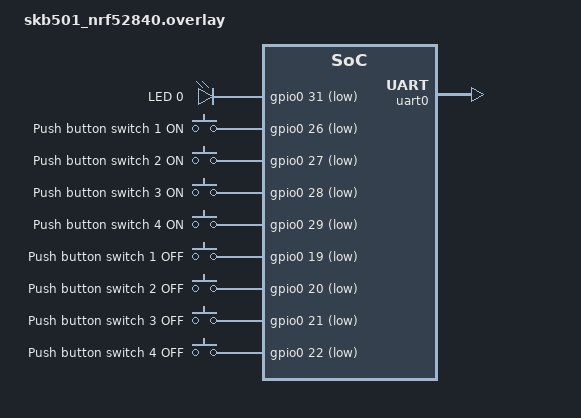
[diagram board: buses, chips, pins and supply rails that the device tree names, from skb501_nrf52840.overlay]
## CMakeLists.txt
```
# SPDX-License-Identifier: Apache-2.0

cmake_minimum_required(VERSION 3.20.0)

#Board selection inside zephyr
#set (BOARD adafruit_feather_m0_basic_proto)
#set(BOARD nrf52840dk_nrf52840)
#set(BOARD nrf5340pdk_nrf5340_cpunet)
#set(BOARD nrf5340pdk_nrf5340_cpuapp)
set(BOARD skb501_nrf52840)
#set(BOARD nrf52840dk_nrf52811)

#Board selection outside zephyr
set(BOARD_ROOT ${CMAKE_CURRENT_SOURCE_DIR})

#Toolchain selection
#set(TOOLCHAIN C:/gnuarmemb)

#Zephyr selection
#set(ZEPHYR_BASE C:/Users/raffa/Github/zephyrproject/zephyr)



find_package(Zephyr REQUIRED HINTS $ENV{ZEPHYR_BASE})

project(NONE)

target_sources(app PRIVATE src/main.c)
```

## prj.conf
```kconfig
#Memory
CONFIG_MAIN_STACK_SIZE=4096

# General configuration
CONFIG_MAIN_STACK_SIZE=4096
CONFIG_SYSTEM_WORKQUEUE_STACK_SIZE=4096
CONFIG_FLASH=y
CONFIG_FLASH_MAP=y
CONFIG_NVS=y
CONFIG_SETTINGS=y
CONFIG_HWINFO=y

# Bluetooth configuration
CONFIG_BT=y
CONFIG_BT_COMPANY_ID=0x0059
CONFIG_BT_DEVICE_NAME="Remote Light Control"
CONFIG_BT_L2CAP_TX_BUF_COUNT=32
CONFIG_BT_OBSERVER=y
CONFIG_BT_PERIPHERAL=y
CONFIG_BT_SETTINGS=y

# Disable unused Bluetooth features
CONFIG_BT_CTLR_DUP_FILTER_LEN=0
CONFIG_BT_CTLR_LE_ENC=n
CONFIG_BT_DATA_LEN_UPDATE=n
CONFIG_BT_PHY_UPDATE=n
CONFIG_BT_CTLR_CHAN_SEL_2=n
CONFIG_BT_CTLR_MIN_USED_CHAN=n
CONFIG_BT_CTLR_PRIVACY=n

# Bluetooth mesh configuration
CONFIG_BT_MESH=y
CONFIG_BT_MESH_RELAY=n
CONFIG_BT_MESH_FRIEND=n
CONFIG_BT_MESH_LOW_POWER=y
CONFIG_BT_MESH_BEACON_ENABLED=n
#CONFIG_BT_DEBUG_LOG=y
#CONFIG_BT_MESH_DEBUG=y
#CONFIG_BT_MESH_DEBUG_LOW_POWER=y
#CONFIG_BT_MESH_DEBUG_FRIEND=y
CONFIG_BT_MESH_LPN_AUTO=y
CONFIG_BT_MESH_LPN_AUTO_TIMEOUT=5
#600 = 60s
CONFIG_BT_MESH_LPN_POLL_TIMEOUT=65000
#2 Days
CONFIG_BT_MESH_GATT_PROXY=n
CONFIG_BT_MESH_ADV_BUF_COUNT=64
CONFIG_BT_MESH_TX_SEG_MAX=32
CONFIG_BT_MESH_PB_GATT=y

# Power Managment Device -> Needed for LPN
CONFIG_PM=y
CONFIG_PM_DEVICE=y
CONFIG_LOG=y
CONFIG_LOG_MODE_IMMEDIATE=y
CONFIG_SERIAL=y
#CONFIG_CLOCK_CONTROL_NRF_CALIBRATION_PERIOD=4000
#CONFIG_CLOCK_CONTROL_NRF_CALIBRATION_MAX_SKIP=255
#CONFIG_CLOCK_CONTROL_NRF_K32SRC_RC_CALIBRATION=n
#CONFIG_BT_LL_SW_SPLIT=y
#SKB501 Specific
#CONFIG_PM_DEVICE_RUNTIME=y
#CONFIG_PM_CPU_OPS=y
CONFIG_GPIO=n
CONFIG_NRFX_GPIOTE=y

# Bluetooth mesh models
CONFIG_BT_MESH_ONOFF_CLI=y

#Board
#CONFIG_BOARD_HAS_NRF5_BOOTLOADER=n

#For Reset
#CONFIG_REBOOT=y
```

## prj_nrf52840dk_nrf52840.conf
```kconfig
# General configuration
CONFIG_MAIN_STACK_SIZE=4096
CONFIG_SYSTEM_WORKQUEUE_STACK_SIZE=4096
CONFIG_FLASH=y
CONFIG_FLASH_MAP=y
CONFIG_NVS=y
CONFIG_SETTINGS=y
CONFIG_HWINFO=y

# Bluetooth configuration
CONFIG_BT=y
CONFIG_BT_COMPANY_ID=0x0059
CONFIG_BT_DEVICE_NAME="Remote Light Control"
CONFIG_BT_L2CAP_TX_BUF_COUNT=32
CONFIG_BT_OBSERVER=y
CONFIG_BT_PERIPHERAL=y
CONFIG_BT_SETTINGS=y

# Disable unused Bluetooth features
CONFIG_BT_CTLR_DUP_FILTER_LEN=0
CONFIG_BT_CTLR_LE_ENC=n
CONFIG_BT_DATA_LEN_UPDATE=n
CONFIG_BT_PHY_UPDATE=n
CONFIG_BT_CTLR_CHAN_SEL_2=n
CONFIG_BT_CTLR_MIN_USED_CHAN=n
CONFIG_BT_CTLR_PRIVACY=n

# Bluetooth mesh configuration
CONFIG_BT_MESH=y
CONFIG_BT_MESH_RELAY=n
CONFIG_BT_MESH_FRIEND=n
CONFIG_BT_MESH_BEACON_ENABLED=n
CONFIG_BT_MESH_LOW_POWER=y
#CONFIG_BT_DEBUG_LOG=y
#CONFIG_BT_MESH_DEBUG=y
#CONFIG_BT_MESH_DEBUG_LOW_POWER=y
CONFIG_BT_MESH_LPN_AUTO=y
CONFIG_BT_MESH_LPN_AUTO_TIMEOUT=5
#600 = 60s
CONFIG_BT_MESH_LPN_POLL_TIMEOUT=3600
CONFIG_BT_MESH_GATT_PROXY=n
CONFIG_BT_MESH_ADV_BUF_COUNT=64
CONFIG_BT_MESH_TX_SEG_MAX=32
CONFIG_BT_MESH_PB_GATT=y

# Power Managment Device -> Needed for LPN
CONFIG_PM=y
CONFIG_PM_DEVICE=y
#CONFIG_PM_DEVICE_RUNTIME=y
#CONFIG_PM_CPU_OPS=y
CONFIG_SERIAL=y
CONFIG_CONSOLE=y

# Bluetooth mesh models
CONFIG_BT_MESH_ONOFF_CLI=y

#GPIO
CONFIG_GPIO=y

#Board
#CONFIG_BOARD_HAS_NRF5_BOOTLOADER=n
```

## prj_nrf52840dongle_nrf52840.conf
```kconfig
# General configuration
CONFIG_MAIN_STACK_SIZE=4096
CONFIG_SYSTEM_WORKQUEUE_STACK_SIZE=4096
CONFIG_FLASH=y
CONFIG_FLASH_MAP=y
CONFIG_NVS=y
CONFIG_SETTINGS=y
CONFIG_HWINFO=y

# Bluetooth configuration
CONFIG_BT=y
CONFIG_BT_COMPANY_ID=0x0059
CONFIG_BT_DEVICE_NAME="Remote Light Control"
CONFIG_BT_L2CAP_TX_BUF_COUNT=32
CONFIG_BT_OBSERVER=y
CONFIG_BT_PERIPHERAL=y
CONFIG_BT_SETTINGS=y

# Disable unused Bluetooth features
CONFIG_BT_CTLR_DUP_FILTER_LEN=0
CONFIG_BT_CTLR_LE_ENC=n
CONFIG_BT_DATA_LEN_UPDATE=n
CONFIG_BT_PHY_UPDATE=n
CONFIG_BT_CTLR_CHAN_SEL_2=n
CONFIG_BT_CTLR_MIN_USED_CHAN=n
CONFIG_BT_CTLR_PRIVACY=n

# Bluetooth mesh configuration
CONFIG_BT_MESH=y
CONFIG_BT_MESH_RELAY=n
CONFIG_BT_MESH_FRIEND=n
CONFIG_BT_MESH_BEACON_ENABLED=n
CONFIG_BT_MESH_LOW_POWER=y
#CONFIG_BT_DEBUG_LOG=y
#CONFIG_BT_MESH_DEBUG=y
#CONFIG_BT_MESH_DEBUG_LOW_POWER=y
CONFIG_BT_MESH_LPN_AUTO=y
CONFIG_BT_MESH_LPN_AUTO_TIMEOUT=5
#600 = 60s
CONFIG_BT_MESH_LPN_POLL_TIMEOUT=3600
CONFIG_BT_MESH_GATT_PROXY=n
CONFIG_BT_MESH_ADV_BUF_COUNT=64
CONFIG_BT_MESH_TX_SEG_MAX=32
CONFIG_BT_MESH_PB_GATT=y

# Power Managment Device -> Needed for LPN
CONFIG_PM=y
CONFIG_PM_DEVICE=y
#CONFIG_PM_DEVICE_RUNTIME=y
#CONFIG_PM_CPU_OPS=y
CONFIG_SERIAL=y
CONFIG_CONSOLE=y

# Bluetooth mesh models
CONFIG_BT_MESH_ONOFF_CLI=y

#GPIO
CONFIG_GPIO=y

#Board
CONFIG_BOARD_HAS_NRF5_BOOTLOADER=n
```

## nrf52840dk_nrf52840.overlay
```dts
#include <dt-bindings/gpio/gpio.h>


/ {
   buttons {
      button1on: button_1on {
			gpios = < &gpio1 0 (GPIO_PULL_UP | GPIO_ACTIVE_LOW) >;
			label = "Push button switch 1 ON";
		};
      button2on: button_2on {
			gpios = < &gpio1 3 (GPIO_PULL_UP | GPIO_ACTIVE_LOW) >;
			label = "Push button switch 2 ON";
		};
      button3on: button_3on {
			gpios = < &gpio0 17 (GPIO_PULL_UP | GPIO_ACTIVE_LOW) >;
			label = "Push button switch 3 ON";
		};
      button4on: button_4on {
			gpios = < &gpio0 20 (GPIO_PULL_UP | GPIO_ACTIVE_LOW) >;
			label = "Push button switch 4 ON";
		};
      button1off: button_1off {
			gpios = < &gpio0 22 (GPIO_PULL_UP | GPIO_ACTIVE_LOW) >;
			label = "Push button switch 1 OFF";
		};
      button2off: button_2off {
			gpios = < &gpio1 4 (GPIO_PULL_UP | GPIO_ACTIVE_LOW) >;
			label = "Push button switch 2 OFF";
		};
      button3off: button_3off {
			gpios = < &gpio1 5 (GPIO_PULL_UP | GPIO_ACTIVE_LOW) >;
			label = "Push button switch 3 OFF";
		};
      button4off: button_4off {
			gpios = < &gpio0 9 (GPIO_PULL_UP | GPIO_ACTIVE_LOW) >;
			label = "Push button switch 4 OFF";
		};
   };
   aliases {
		sw1on = &button1on;
      sw2on = &button2on;
      sw3on = &button3on;
      sw4on = &button4on;
      sw1off = &button1off;
      sw2off = &button2off;
      sw3off = &button3off;
      sw4off = &button4off;
	};
};
```

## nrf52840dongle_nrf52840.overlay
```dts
#include <dt-bindings/gpio/gpio.h>

&i2c0 {
	status = "disabled";
};

&i2c1 {
	status = "disabled";
};

&spi0 {
	status = "disabled";
};

&spi1 {
	status = "disabled";
};

/* 
&uart0 {
	status = "disabled";
};

*/

/ {
   buttons {
      button1on: button_1on {
			gpios = < &gpio0 13 (GPIO_PULL_UP | GPIO_ACTIVE_LOW) >;
			label = "Push button switch 1 ON";
		};
      button2on: button_2on {
			gpios = < &gpio0 15 (GPIO_PULL_UP | GPIO_ACTIVE_LOW) >;
			label = "Push button switch 2 ON";
		};
      button3on: button_3on {
			gpios = < &gpio0 17 (GPIO_PULL_UP | GPIO_ACTIVE_LOW) >;
			label = "Push button switch 3 ON";
		};
      button4on: button_4on {
			gpios = < &gpio0 20 (GPIO_PULL_UP | GPIO_ACTIVE_LOW) >;
			label = "Push button switch 4 ON";
		};
      button1off: button_1off {
			gpios = < &gpio0 22 (GPIO_PULL_UP | GPIO_ACTIVE_LOW) >;
			label = "Push button switch 1 OFF";
		};
      button2off: button_2off {
			gpios = < &gpio0 24 (GPIO_PULL_UP | GPIO_ACTIVE_LOW) >;
			label = "Push button switch 2 OFF";
		};
      button3off: button_3off {
			gpios = < &gpio1 0 (GPIO_PULL_UP | GPIO_ACTIVE_LOW) >;
			label = "Push button switch 3 OFF";
		};
      button4off: button_4off {
			gpios = < &gpio0 9 (GPIO_PULL_UP | GPIO_ACTIVE_LOW) >;
			label = "Push button switch 4 OFF";
		};
   };
   aliases {
		sw1on = &button1on;
      sw2on = &button2on;
      sw3on = &button3on;
      sw4on = &button4on;
      sw1off = &button1off;
      sw2off = &button2off;
      sw3off = &button3off;
      sw4off = &button4off;
	};
};
```

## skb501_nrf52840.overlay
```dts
#include <dt-bindings/gpio/gpio.h>

&i2c0 {
	status = "disabled";
};

&i2c1 {
	status = "disabled";
};

&spi0 {
	status = "disabled";
};

&spi1 {
	status = "disabled";
};

&uart0 {
	status = "okay";
};

/ {
	leds {
		compatible = "gpio-leds";
		led0: led_0 {
			gpios = <&gpio0 31 GPIO_ACTIVE_LOW>;
			label = "LED 0";
		};
	};
	buttons {
		compatible = "gpio-keys";
		button1on: button_1on {
			gpios = < &gpio0 26 (GPIO_PULL_UP | GPIO_ACTIVE_LOW) >;
			label = "Push button switch 1 ON";
		};
      button2on: button_2on {
			gpios = < &gpio0 27 (GPIO_PULL_UP | GPIO_ACTIVE_LOW) >;
			label = "Push button switch 2 ON";
		};
      button3on: button_3on {
			gpios = < &gpio0 28 (GPIO_PULL_UP | GPIO_ACTIVE_LOW) >;
			label = "Push button switch 3 ON";
		};
      button4on: button_4on {
			gpios = < &gpio0 29 (GPIO_PULL_UP | GPIO_ACTIVE_LOW) >;
			label = "Push button switch 4 ON";
		};
      button1off: button_1off {
			gpios = < &gpio0 19 (GPIO_PULL_UP | GPIO_ACTIVE_LOW) >;
			label = "Push button switch 1 OFF";
		};
      button2off: button_2off {
			gpios = < &gpio0 20 (GPIO_PULL_UP | GPIO_ACTIVE_LOW) >;
			label = "Push button switch 2 OFF";
		};
      button3off: button_3off {
			gpios = < &gpio0 21 (GPIO_PULL_UP | GPIO_ACTIVE_LOW) >;
			label = "Push button switch 3 OFF";
		};
      button4off: button_4off {
			gpios = < &gpio0 22 (GPIO_PULL_UP | GPIO_ACTIVE_LOW) >;
			label = "Push button switch 4 OFF";
		};
	};
   aliases {
	led0 = &led0;
	sw1on = &button1on;
      sw2on = &button2on;
      sw3on = &button3on;
      sw4on = &button4on;
      sw1off = &button1off;
      sw2off = &button2off;
      sw3off = &button3off;
      sw4off = &button4off;

	};
};
```

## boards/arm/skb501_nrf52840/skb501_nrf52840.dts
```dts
/*
 * Copyright (c) 2017 Linaro Limited
 *
 * SPDX-License-Identifier: Apache-2.0
 */

/dts-v1/;
#include <nordic/nrf52840_qiaa.dtsi>

/ {
	model = "Nordic SKB501 NRF52840";
	compatible = "nordic,skb501-nrf52840";

	chosen {
		zephyr,console = &uart0;
		zephyr,shell-uart = &uart0;
		zephyr,uart-mcumgr = &uart0;
		zephyr,bt-mon-uart = &uart0;
		zephyr,bt-c2h-uart = &uart0;
		zephyr,sram = &sram0;
		zephyr,flash = &flash0;
		zephyr,code-partition = &slot0_partition;
	};	

	/* These aliases are provided for compatibility with samples */
	aliases {
	};
};

&adc {
	status = "okay";
};

&gpiote {
	status = "okay";
};

&gpio0 {
	status = "okay";
};

&gpio1 {
	status = "okay";
};

&uart0 {
	compatible = "nordic,nrf-uarte";
	status = "okay";
	current-speed = <115200>;
	tx-pin = <2>;
	rx-pin = <3>;
	rx-pull-up;
	rts-pin = <6>;
	cts-pin = <7>;
	cts-pull-up;
};

&i2c0 {
	compatible = "nordic,nrf-twi";
	status = "okay";
	sda-pin = <26>;
	scl-pin = <27>;
};

&i2c1 {
	compatible = "nordic,nrf-twi";
	/* Cannot be used together with spi1. */
	/* status = "okay"; */
	sda-pin = <30>;
	scl-pin = <31>;
};

&pwm0 {
	status = "okay";
	ch0-pin = <5>;
	ch0-inverted;
};

&spi0 {
	compatible = "nordic,nrf-spi";
	/* Cannot be used together with i2c0. */
	/* status = "okay"; */
	sck-pin = <27>;
	mosi-pin = <26>;
	miso-pin = <29>;
};


&flash0 {

	partitions {
		compatible = "fixed-partitions";
		#address-cells = <1>;
		#size-cells = <1>;

		boot_partition: partition@0 {
			label = "mcuboot";
			reg = <0x000000000 0x0000C000>;
		};
		slot0_partition: partition@c000 {
			label = "image-0";
			reg = <0x0000C000 0x00067000>;
		};
		slot1_partition: partition@73000 {
			label = "image-1";
			reg = <0x00073000 0x00067000>;
		};
		scratch_partition: partition@da000 {
			label = "image-scratch";
			reg = <0x000da000 0x0001e000>;
		};

		/*
		 * The flash starting at 0x000f8000 and ending at
		 * 0x000fffff is reserved for use by the application.
		 */

		/*
		 * Storage partition will be used by FCB/LittleFS/NVS
		 * if enabled.
		 */
		storage_partition: partition@f8000 {
			label = "storage";
			reg = <0x000f8000 0x00008000>;
		};
	};
};
```

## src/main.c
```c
/*
 * Copyright (c) 2017 Raffael Anklin
 *
 * SPDX-License-Identifier: Apache-2.0
 */

/* ---------- Led ------------------- */
#include <zephyr.h>
#include <hal/nrf_gpio.h>
#include <nrfx_gpiote.h>
#include <hal/nrf_gpiote.h>

//Init Reset Button
static void leds_init()
{
  nrf_gpio_cfg_output(DT_GPIO_PIN(DT_ALIAS(led0), gpios));
  nrf_gpio_pin_set(DT_GPIO_PIN(DT_ALIAS(led0), gpios));
}

/* ---------- Buttons ------------------- */
static struct k_work_delayable buttons_debounce;

static void mesh_model_button_handler();
static void lpn_wakeup();
static void lpn_sleep();

static bool buttons_locked;
static uint32_t pin_latches;

static void buttons_debounce_fn(struct k_work *work)
{
  lpn_wakeup();
  mesh_model_button_handler();
}

static void gpiote_isr(const void *irq_handler)
{
  nrf_gpiote_int_disable(NRF_GPIOTE, GPIOTE_INTENSET_PORT_Msk); 
  nrf_gpiote_event_clear(NRF_GPIOTE, NRF_GPIOTE_EVENT_PORT); 
  nrf_gpio_latches_read_and_clear(0,1,&pin_latches); 
  printk("Button pressed at %" PRIu32 "\n", k_cycle_get_32());
  if (!buttons_locked){
    buttons_locked = true;
    k_work_reschedule(&buttons_debounce, K_MSEC(100)); // Debounce the Button
  }
}

//Init Reset Button
static void buttons_init()
{
  k_work_init_delayable(&buttons_debounce, buttons_debounce_fn);

  /* Configure to generate PORT event (wakeup) on buttons press. */
  nrf_gpio_cfg_sense_input(DT_GPIO_PIN(DT_ALIAS(sw1on), gpios),NRF_GPIO_PIN_PULLUP,NRF_GPIO_PIN_SENSE_LOW);
  nrf_gpio_cfg_sense_input(DT_GPIO_PIN(DT_ALIAS(sw2on), gpios),NRF_GPIO_PIN_PULLUP,NRF_GPIO_PIN_SENSE_LOW);
  nrf_gpio_cfg_sense_input(DT_GPIO_PIN(DT_ALIAS(sw3on), gpios),NRF_GPIO_PIN_PULLUP,NRF_GPIO_PIN_SENSE_LOW);
  nrf_gpio_cfg_sense_input(DT_GPIO_PIN(DT_ALIAS(sw4on), gpios),NRF_GPIO_PIN_PULLUP,NRF_GPIO_PIN_SENSE_LOW);
  nrf_gpio_cfg_sense_input(DT_GPIO_PIN(DT_ALIAS(sw1off), gpios),NRF_GPIO_PIN_PULLUP,NRF_GPIO_PIN_SENSE_LOW);
  nrf_gpio_cfg_sense_input(DT_GPIO_PIN(DT_ALIAS(sw2off), gpios),NRF_GPIO_PIN_PULLUP,NRF_GPIO_PIN_SENSE_LOW);
  nrf_gpio_cfg_sense_input(DT_GPIO_PIN(DT_ALIAS(sw3off), gpios),NRF_GPIO_PIN_PULLUP,NRF_GPIO_PIN_SENSE_LOW);
  nrf_gpio_cfg_sense_input(DT_GPIO_PIN(DT_ALIAS(sw4off), gpios),NRF_GPIO_PIN_PULLUP,NRF_GPIO_PIN_SENSE_LOW);

  /* Connect GPIOTE_0 IRQ to nrfx_gpiote_irq_handler */
	IRQ_CONNECT(DT_IRQN(DT_NODELABEL(gpiote)),
		    DT_IRQ(DT_NODELABEL(gpiote), priority),
		    gpiote_isr, NULL, 0);

    NRFX_IRQ_PRIORITY_SET(nrfx_get_irq_number(NRF_GPIOTE), 0);
    NRFX_IRQ_ENABLE(nrfx_get_irq_number(NRF_GPIOTE));
    nrf_gpiote_event_clear(NRF_GPIOTE, NRF_GPIOTE_EVENT_PORT);
    nrf_gpiote_int_enable(NRF_GPIOTE, GPIOTE_INTENSET_PORT_Msk);  
}


/* ---------------------------- Bluetooth Mesh ------------------------------- */

#include <drivers/hwinfo.h>

#include <bluetooth/bluetooth.h>
#include <bluetooth/mesh.h>
#include <bluetooth/mesh/models.h>
#include <bluetooth/mesh/model_types.h>


/* Provisioning */
static int output_number(bt_mesh_output_action_t action, uint32_t number)
{
  printk("OOB Number: %u\n", number);
  return 0;
}

static void prov_complete(uint16_t net_idx, uint16_t addr)
{
  printk("Prov complete! Addr: 0x%04x\n", addr);
}

static void prov_reset(void)
{
  printk("Prov reset!\n");
  bt_mesh_prov_enable(BT_MESH_PROV_ADV | BT_MESH_PROV_GATT);
}

static uint8_t dev_uuid[16];

static const struct bt_mesh_prov prov = {
    .uuid = dev_uuid,
    .output_size = 4,
    .output_actions = BT_MESH_DISPLAY_NUMBER,
    .output_number = output_number,
    .complete = prov_complete,
    .reset = prov_reset,
};

/* ON/OFF Client definition */

/** Context for a single light switch. */
struct button {
	/** Current light status of the corresponding server. */
	bool status;
	/** Generic OnOff client instance for this switch. */
	struct bt_mesh_onoff_cli client;
};

static void status_handler(struct bt_mesh_onoff_cli *cli,
			   struct bt_mesh_msg_ctx *ctx,
			   const struct bt_mesh_onoff_status *status);

static struct button buttons[] = {
	{ .client = BT_MESH_ONOFF_CLI_INIT(&status_handler) },
	{ .client = BT_MESH_ONOFF_CLI_INIT(&status_handler) },
	{ .client = BT_MESH_ONOFF_CLI_INIT(&status_handler) },
	{ .client = BT_MESH_ONOFF_CLI_INIT(&status_handler) },
};

static void status_handler(struct bt_mesh_onoff_cli *cli,
			   struct bt_mesh_msg_ctx *ctx,
			   const struct bt_mesh_onoff_status *status)
{
	struct button *button =
		CONTAINER_OF(cli, struct button, client);
	int index = button - &buttons[0];
	button->status = status->present_on_off;
	printk("Button %d: Received response: %s\n", index + 1,
	       status->present_on_off ? "on" : "off");
}

static void mesh_model_button_handler()
{  	
  //Check which Button is pressed
  static int i = -1;
  static int err;
  i = -1;
  
  printk("L: %u\n",pin_latches);

  if (pin_latches & (1 << DT_GPIO_PIN(DT_ALIAS(sw1on), gpios)))
  {
    i = 0;
    buttons[i].status = true;
  } else if (pin_latches & (1 << DT_GPIO_PIN(DT_ALIAS(sw1off), gpios)))
  {
    i = 0;
    buttons[i].status = false;
  } else if (pin_latches & (1 << DT_GPIO_PIN(DT_ALIAS(sw2on), gpios)))
  {
    i = 1;
    buttons[i].status = true;
  } else if (pin_latches & (1 << DT_GPIO_PIN(DT_ALIAS(sw2off), gpios)))
  {
    i = 1;
    buttons[i].status = false;
  } else if (pin_latches & (1 << DT_GPIO_PIN(DT_ALIAS(sw3on), gpios)))
  {
    i = 2;
    buttons[i].status = true;
  } else if (pin_latches & (1 << DT_GPIO_PIN(DT_ALIAS(sw3off), gpios)))
  {
    i = 2;
    buttons[i].status = false;
  } else if (pin_latches & (1 << DT_GPIO_PIN(DT_ALIAS(sw4on), gpios)))
  {
    i = 3;
    buttons[i].status = true;
  } else if (pin_latches & (1 << DT_GPIO_PIN(DT_ALIAS(sw4off), gpios)))
  {
    i = 3;
    buttons[i].status = false;
  } else 
  {
    printk("Error no button pressed\n");
  }
  
  if (bt_mesh_is_provisioned() && (i >= 0)) {    
    struct bt_mesh_onoff_set set = {.on_off = buttons[i].status,};
    err = bt_mesh_onoff_cli_set_unack(&buttons[i].client,NULL, &set);
    if (err) {
        printk("OnOff %d set failed: %d\n", i + 1, err);
    }
    err = bt_mesh_lpn_poll();
    if (err != 0){
      printk("Poll Error %d\n",err);
    }
  }
  lpn_sleep();  
}

/* Health Server definition */
static void attention_on(struct bt_mesh_model *model)
{
  printk("attention_on!\n");
}
static void attention_off(struct bt_mesh_model *model)
{
  printk("attention_off!\n");
}
static const struct bt_mesh_health_srv_cb health_srv_cb = {
    .attn_on = attention_on,
    .attn_off = attention_off,
};
static struct bt_mesh_health_srv health_srv = {
    .cb = &health_srv_cb,
};
BT_MESH_HEALTH_PUB_DEFINE(health_pub, 0);

/* Define all Elements */
static struct bt_mesh_elem elements[] = {
    BT_MESH_ELEM(1, BT_MESH_MODEL_LIST(BT_MESH_MODEL_CFG_SRV, BT_MESH_MODEL_HEALTH_SRV(&health_srv, &health_pub), BT_MESH_MODEL_ONOFF_CLI(&buttons[0].client)),BT_MESH_MODEL_NONE),
    BT_MESH_ELEM(2, BT_MESH_MODEL_LIST(BT_MESH_MODEL_ONOFF_CLI(&buttons[1].client)),BT_MESH_MODEL_NONE),
    BT_MESH_ELEM(3, BT_MESH_MODEL_LIST(BT_MESH_MODEL_ONOFF_CLI(&buttons[2].client)),BT_MESH_MODEL_NONE),
    BT_MESH_ELEM(4, BT_MESH_MODEL_LIST(BT_MESH_MODEL_ONOFF_CLI(&buttons[3].client)),BT_MESH_MODEL_NONE),
};

/* Create Composition */
static const struct bt_mesh_comp comp = {
    .cid = CONFIG_BT_COMPANY_ID,
    .elem = elements,
    .elem_count = ARRAY_SIZE(elements),
};

/* Bluetooth */
static void bt_ready(int err)
{
  if (err)
  {
    printk("Bluetooth init failed (err %d)\n", err);
    return;
  }

  printk("Bluetooth initialized\n");

  err = bt_mesh_init(&prov, &comp);
  if (err)
  {
    printk("Initializing mesh failed (err %d)\n", err);
    return;
  }

  if (IS_ENABLED(CONFIG_SETTINGS))
  {
    settings_load();
  }

  //Check Reboot Condition
  
  if ((nrf_gpio_pin_read(DT_GPIO_PIN(DT_ALIAS(sw1on), gpios)) == false) ){
    printk("Reset Mesh!\n");
		bt_mesh_reset();
  }


  /* This will be a no-op if settings_load() loaded provisioning info */
  bt_mesh_prov_enable(BT_MESH_PROV_ADV | BT_MESH_PROV_GATT);

  /* Check for Friendship */

  printk("Mesh initialized\n");
}

//Init Bluetooth Mesh
static void bluetooth_mesh_init()
{
  static int err;
  if (IS_ENABLED(CONFIG_HWINFO)) {
		err = hwinfo_get_device_id(dev_uuid, sizeof(dev_uuid));
	}
	if (err < 0) {
		dev_uuid[0] = 0xdd;
		dev_uuid[1] = 0xdd;
	}
  //Init Bluetooth
	bt_enable(bt_ready);
}

/* Manual Low Power Node Override */
#include <stdio.h>
#include <zephyr.h>
#include <device.h>
#include <init.h>
#include <pm/pm.h>
#include <bluetooth/mesh/main.h>

#define CONSOLE_LABEL DT_LABEL(DT_CHOSEN(zephyr_console))
#define CLOCK_LABEL DT_LABEL(DT_NODELABEL(clock))

const struct device *cons;
//const struct device *clk;

static void lpn_app_init(){
  //cons = device_get_binding(CONSOLE_LABEL);
}

static void lpn_wakeup(){
  cons = device_get_binding(CONSOLE_LABEL);
  if (cons == NULL)
  {
    printk("No UART Device found\n");
  } else {
    pm_device_state_set(cons, PM_DEVICE_STATE_ACTIVE);  
  }
  printk("Exit System OFF\n");
  nrf_gpio_pin_set(DT_GPIO_PIN(DT_ALIAS(led0), gpios)); 
}

static void lpn_sleep(){
    printk("Enter System OFF\n");
    nrf_gpio_pin_clear(DT_GPIO_PIN(DT_ALIAS(led0), gpios)); 
    //Reenable Interrupt
    buttons_locked = false;
    nrf_gpiote_event_clear(NRF_GPIOTE, NRF_GPIOTE_EVENT_PORT);
    nrf_gpio_latches_read_and_clear(0,1,&pin_latches); 
    nrf_gpiote_int_enable(NRF_GPIOTE, GPIOTE_INTENSET_PORT_Msk); 
    cons = device_get_binding(CONSOLE_LABEL);
    if (cons == NULL)
    {
      printk("No UART Device found\n");
    } else {
      pm_device_state_set(cons, PM_DEVICE_STATE_SUSPENDED);  
    }   
    //pm_power_state_force((struct pm_state_info){PM_STATE_SOFT_OFF, 0, 0});
}

static void lpn_app_established(uint16_t net_idx, uint16_t friend_addr,
					uint8_t queue_size, uint8_t recv_win)
{
  printk("LPN Established\n");
  lpn_sleep();
}

static void lpn_app_polled(uint16_t net_idx, uint16_t friend_addr, bool retry)
{
  printk("LPN Polled\n");
  lpn_sleep();
}

BT_MESH_LPN_CB_DEFINE(lpn_cb_app) = {
	.established = lpn_app_established,
	.polled = lpn_app_polled,
};






/* ------------------- Main App ---------------------------- */

void main(void)
{
  printk("Init Application\n");
  leds_init();
  buttons_init();
  lpn_app_init();
  bluetooth_mesh_init();
  printk("Starting Application\n");
}
```

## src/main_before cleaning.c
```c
/*
 * Copyright (c) 2017 Raffael Anklin
 *
 * SPDX-License-Identifier: Apache-2.0
 */

/* ---------- Led ------------------- */
#include <zephyr.h>
//#include <drivers/gpio.h>
#include <hal/nrf_gpio.h>
#include <nrfx_gpiote.h>
#include <hal/nrf_gpiote.h>

//static struct gpio_dt_spec led = GPIO_DT_SPEC_GET_OR(DT_ALIAS(led0), gpios,{0});

//Init Reset Button
static void leds_init()
{
  //gpio_pin_configure_dt(&led, GPIO_OUTPUT_INACTIVE);
}

/* ---------- Buttons ------------------- 
static const struct gpio_dt_spec button_1_on = GPIO_DT_SPEC_GET_OR(DT_ALIAS(sw1on), gpios, {0});
static const struct gpio_dt_spec button_2_on = GPIO_DT_SPEC_GET_OR(DT_ALIAS(sw2on), gpios, {0});
static const struct gpio_dt_spec button_3_on = GPIO_DT_SPEC_GET(DT_ALIAS(sw3on), gpios);
static const struct gpio_dt_spec button_4_on = GPIO_DT_SPEC_GET_OR(DT_ALIAS(sw4on), gpios, {0});
static const struct gpio_dt_spec button_1_off = GPIO_DT_SPEC_GET_OR(DT_ALIAS(sw1off), gpios, {0});
static const struct gpio_dt_spec button_2_off = GPIO_DT_SPEC_GET_OR(DT_ALIAS(sw2off), gpios, {0});
static const struct gpio_dt_spec button_3_off = GPIO_DT_SPEC_GET_OR(DT_ALIAS(sw3off), gpios, {0});
static const struct gpio_dt_spec button_4_off = GPIO_DT_SPEC_GET_OR(DT_ALIAS(sw4off), gpios, {0});
static struct gpio_callback button_cb_data_port0;
static struct gpio_callback button_cb_data_port1;
*/
static struct k_work_delayable buttons_debounce;

static void mesh_model_button_handler();
static void lpn_wakeup();
static void lpn_sleep();

static bool buttons_locked;
static uint32_t pressed_pins;

static void buttons_debounce_fn(struct k_work *work)
{
  lpn_wakeup();
  mesh_model_button_handler();
}

/*
void button_pressed(const struct device *dev, struct gpio_callback *cb,
                    uint32_t pins)
{
  printk("Button pressed at %" PRIu32 "\n", k_cycle_get_32());
  if (!buttons_locked){
    buttons_locked = true;
    pressed_pins = pins;
    k_work_reschedule(&buttons_debounce, K_MSEC(100)); // Debounce the Button
  }
}
*/

static void gpiote_isr(const void *irq_handler)
{
	//((nrfx_irq_handler_t)irq_handler)();
  nrf_gpiote_event_clear(NRF_GPIOTE, NRF_GPIOTE_EVENT_PORT);
  nrf_gpiote_int_disable(NRF_GPIOTE, GPIOTE_INTENSET_PORT_Msk); 
  printk("Button pressed at %" PRIu32 "\n", k_cycle_get_32());
  if (!buttons_locked){
    buttons_locked = true;
    k_work_reschedule(&buttons_debounce, K_MSEC(100)); // Debounce the Button
  }
}

//Init Reset Button
static void buttons_init()
{
  //nrf_gpiote_event_enable(NRF_GPIOTE,0);
  //NRF_GPIOTE->INTENCLR = 
/*
  gpio_pin_configure_dt(&button_1_on, GPIO_INPUT);
  
  //gpio_pin_interrupt_configure_dt(&button_1_on, GPIO_INT_EDGE_TO_ACTIVE);

  gpio_pin_configure_dt(&button_2_on, GPIO_INPUT);
  //gpio_pin_interrupt_configure_dt(&button_2_on, GPIO_INT_EDGE_TO_ACTIVE);

  gpio_pin_configure_dt(&button_3_on, GPIO_INPUT);
  //gpio_pin_interrupt_configure_dt(&button_3_on, GPIO_INT_EDGE_TO_ACTIVE);

  gpio_pin_configure_dt(&button_4_on, GPIO_INPUT);
  //gpio_pin_interrupt_configure_dt(&button_4_on, GPIO_INT_EDGE_TO_ACTIVE);

  gpio_pin_configure_dt(&button_1_off, GPIO_INPUT);
  //gpio_pin_interrupt_configure_dt(&button_1_off, GPIO_INT_EDGE_TO_ACTIVE);

  gpio_pin_configure_dt(&button_2_off, GPIO_INPUT);
  //gpio_pin_interrupt_configure_dt(&button_2_off, GPIO_INT_EDGE_TO_ACTIVE);

  gpio_pin_configure_dt(&button_3_off, GPIO_INPUT);
  //gpio_pin_interrupt_configure_dt(&button_3_off, GPIO_INT_EDGE_TO_ACTIVE);  

  gpio_pin_configure_dt(&button_4_off, GPIO_INPUT);
  //gpio_pin_interrupt_configure_dt(&button_4_off, GPIO_INT_EDGE_TO_ACTIVE);

  //gpio_init_callback(&button_cb_data_port1, button_pressed, BIT(button_1_on.pin) | BIT(button_2_on.pin) | BIT(button_2_off.pin) | BIT(button_3_off.pin));
  //gpio_init_callback(&button_cb_data_port0, button_pressed, BIT(button_3_on.pin) | BIT(button_4_on.pin) | BIT(button_1_off.pin) | BIT(button_4_off.pin));
  
  //gpio_add_callback(button_3_off.port, &button_cb_data_port1); //Port 1
  //gpio_add_callback(button_3_on.port, &button_cb_data_port0); //Port 0
  
*/
  k_work_init_delayable(&buttons_debounce, buttons_debounce_fn);

  // Test Wake UP
  /* Configure to generate PORT event (wakeup) on buttons press. */
  nrf_gpio_cfg_sense_input(26,NRF_GPIO_PIN_PULLUP,NRF_GPIO_PIN_SENSE_LOW);
  nrf_gpio_cfg_sense_input(27,NRF_GPIO_PIN_PULLUP,NRF_GPIO_PIN_SENSE_LOW);
  nrf_gpio_cfg_sense_input(28,NRF_GPIO_PIN_PULLUP,NRF_GPIO_PIN_SENSE_LOW);
  nrf_gpio_cfg_sense_input(29,NRF_GPIO_PIN_PULLUP,NRF_GPIO_PIN_SENSE_LOW);
  nrf_gpio_cfg_sense_input(19,NRF_GPIO_PIN_PULLUP,NRF_GPIO_PIN_SENSE_LOW);
  nrf_gpio_cfg_sense_input(20,NRF_GPIO_PIN_PULLUP,NRF_GPIO_PIN_SENSE_LOW);
  nrf_gpio_cfg_sense_input(21,NRF_GPIO_PIN_PULLUP,NRF_GPIO_PIN_SENSE_LOW);
  nrf_gpio_cfg_sense_input(22,NRF_GPIO_PIN_PULLUP,NRF_GPIO_PIN_SENSE_LOW);

  /* Connect GPIOTE_0 IRQ to nrfx_gpiote_irq_handler */
	IRQ_CONNECT(DT_IRQN(DT_NODELABEL(gpiote)),
		    DT_IRQ(DT_NODELABEL(gpiote), priority),
		    gpiote_isr, NULL, 0);

    NRFX_IRQ_PRIORITY_SET(nrfx_get_irq_number(NRF_GPIOTE), 0);
    NRFX_IRQ_ENABLE(nrfx_get_irq_number(NRF_GPIOTE));
    nrf_gpiote_event_clear(NRF_GPIOTE, NRF_GPIOTE_EVENT_PORT);
    nrf_gpiote_int_enable(NRF_GPIOTE, GPIOTE_INTENSET_PORT_Msk);   
  
        /* Connect GPIOTE_0 IRQ to nrfx_gpiote_irq_handler 
	IRQ_CONNECT(DT_IRQN(DT_NODELABEL(gpiote)),
		    DT_IRQ(DT_NODELABEL(gpiote), priority),
		    nrfx_isr, nrfx_gpiote_irq_handler, 0);
*/
  
  //nrfx_gpiote_init(0)

  //Enable GPIOTE Channel 0 Event Mode
  //NRF_GPIOTE->CONFIG[0] |= GPIOTE_CONFIG_MODE_Event;
  //Enable GPIOTE Channel 0 Port
  //NRF_GPIOTE->CONFIG[0] |= GPIOTE_CONFIG_PORT_Pos;
  //Clear Interrupt
  //NRF_GPIOTE->EVENTS_PORT = 0;
  //Enable Interrupt
  //NRF_GPIOTE->INTENSET |= NRF_GPIOTE_INT_PORT_MASK;

  //nrf_gpiote_event_enable(NRF_GPIOTE,0);
  

  

}


/* ---------------------------- Bluetooth Mesh ------------------------------- */

#include <drivers/hwinfo.h>

#include <bluetooth/bluetooth.h>
#include <bluetooth/mesh.h>
#include <bluetooth/mesh/models.h>
#include <bluetooth/mesh/model_types.h>


/* Provisioning */
static int output_number(bt_mesh_output_action_t action, uint32_t number)
{
  printk("OOB Number: %u\n", number);
  return 0;
}

static void prov_complete(uint16_t net_idx, uint16_t addr)
{
  printk("Prov complete! Addr: 0x%04x\n", addr);
}

static void prov_reset(void)
{
  printk("Prov reset!\n");
  bt_mesh_prov_enable(BT_MESH_PROV_ADV | BT_MESH_PROV_GATT);
}

static uint8_t dev_uuid[16];

static const struct bt_mesh_prov prov = {
    .uuid = dev_uuid,
    .output_size = 4,
    .output_actions = BT_MESH_DISPLAY_NUMBER,
    .output_number = output_number,
    .complete = prov_complete,
    .reset = prov_reset,
};

/* ON/OFF Client definition */

/** Context for a single light switch. */
struct button {
	/** Current light status of the corresponding server. */
	bool status;
	/** Generic OnOff client instance for this switch. */
	struct bt_mesh_onoff_cli client;
};

static void status_handler(struct bt_mesh_onoff_cli *cli,
			   struct bt_mesh_msg_ctx *ctx,
			   const struct bt_mesh_onoff_status *status);

static struct button buttons[] = {
	{ .client = BT_MESH_ONOFF_CLI_INIT(&status_handler) },
	{ .client = BT_MESH_ONOFF_CLI_INIT(&status_handler) },
	{ .client = BT_MESH_ONOFF_CLI_INIT(&status_handler) },
	{ .client = BT_MESH_ONOFF_CLI_INIT(&status_handler) },
};

static void status_handler(struct bt_mesh_onoff_cli *cli,
			   struct bt_mesh_msg_ctx *ctx,
			   const struct bt_mesh_onoff_status *status)
{
	struct button *button =
		CONTAINER_OF(cli, struct button, client);
	int index = button - &buttons[0];
	button->status = status->present_on_off;
	printk("Button %d: Received response: %s\n", index + 1,
	       status->present_on_off ? "on" : "off");
}

static void mesh_model_button_handler()
{  	
  //Check which Button is pressed
  static int i = 0;
  static int err;
  /*
  if ((gpio_pin_get_dt(&button_1_on) == true) || (pressed_pins & (1 << button_1_on.pin)))
  {
    i = 0;
    buttons[i].status = true;
  } else if ((gpio_pin_get_dt(&button_1_off) == true) || (pressed_pins & (1 << button_1_off.pin)))
  {
    i = 0;
    buttons[i].status = false;
  } else if ((gpio_pin_get_dt(&button_2_on) == true) || (pressed_pins & (1 << button_2_on.pin)))
  {
    i = 1;
    buttons[i].status = true;
  } else if ((gpio_pin_get_dt(&button_2_off) == true) || (pressed_pins & (1 << button_2_off.pin)))
  {
    i = 1;
    buttons[i].status = false;
  } else if ((gpio_pin_get_dt(&button_3_on) == true) || (pressed_pins & (1 << button_3_on.pin)))
  {
    i = 2;
    buttons[i].status = true;
  } else if ((gpio_pin_get_dt(&button_3_off) == true) || (pressed_pins & (1 << button_3_off.pin)))
  {
    i = 2;
    buttons[i].status = false;
  } else if ((gpio_pin_get_dt(&button_4_on) == true) || (pressed_pins & (1 << button_4_on.pin)))
  {
    i = 3;
    buttons[i].status = true;
  } else if ((gpio_pin_get_dt(&button_4_off) == true) || (pressed_pins & (1 << button_4_off.pin)))
  {
    i = 3;
    buttons[i].status = false;
  } else 
  {
    printk("Error no button pressed\n");
  }
  */
  pressed_pins = 0;
  if (bt_mesh_is_provisioned()) {    
    struct bt_mesh_onoff_set set = {.on_off = buttons[i].status,};
    err = bt_mesh_onoff_cli_set_unack(&buttons[i].client,NULL, &set);
    if (err) {
        printk("OnOff %d set failed: %d\n", i + 1, err);
    }
  }
  err = bt_mesh_lpn_poll();
  if (err != 0){
    printk("Poll Error %d\n",err);
  }
  lpn_sleep();  
}

/* Health Server definition */
static void attention_on(struct bt_mesh_model *model)
{
  printk("attention_on!\n");
}
static void attention_off(struct bt_mesh_model *model)
{
  printk("attention_off!\n");
}
static const struct bt_mesh_health_srv_cb health_srv_cb = {
    .attn_on = attention_on,
    .attn_off = attention_off,
};
static struct bt_mesh_health_srv health_srv = {
    .cb = &health_srv_cb,
};
BT_MESH_HEALTH_PUB_DEFINE(health_pub, 0);

/* Define all Elements */
static struct bt_mesh_elem elements[] = {
    BT_MESH_ELEM(1, BT_MESH_MODEL_LIST(BT_MESH_MODEL_CFG_SRV, BT_MESH_MODEL_HEALTH_SRV(&health_srv, &health_pub), BT_MESH_MODEL_ONOFF_CLI(&buttons[0].client)),BT_MESH_MODEL_NONE),
    BT_MESH_ELEM(2, BT_MESH_MODEL_LIST(BT_MESH_MODEL_ONOFF_CLI(&buttons[1].client)),BT_MESH_MODEL_NONE),
    BT_MESH_ELEM(3, BT_MESH_MODEL_LIST(BT_MESH_MODEL_ONOFF_CLI(&buttons[2].client)),BT_MESH_MODEL_NONE),
    BT_MESH_ELEM(4, BT_MESH_MODEL_LIST(BT_MESH_MODEL_ONOFF_CLI(&buttons[3].client)),BT_MESH_MODEL_NONE),
};

/* Create Composition */
static const struct bt_mesh_comp comp = {
    .cid = CONFIG_BT_COMPANY_ID,
    .elem = elements,
    .elem_count = ARRAY_SIZE(elements),
};

/* Bluetooth */
static void bt_ready(int err)
{
  if (err)
  {
    printk("Bluetooth init failed (err %d)\n", err);
    return;
  }

  printk("Bluetooth initialized\n");

  err = bt_mesh_init(&prov, &comp);
  if (err)
  {
    printk("Initializing mesh failed (err %d)\n", err);
    return;
  }

  if (IS_ENABLED(CONFIG_SETTINGS))
  {
    settings_load();
  }

  //Check Reboot Condition
  /*
  if ((gpio_pin_get_dt(&button_1_on) == true) ){
    printk("Reset Mesh!\n");
		bt_mesh_reset();
  }
  */

  /* This will be a no-op if settings_load() loaded provisioning info */
  bt_mesh_prov_enable(BT_MESH_PROV_ADV | BT_MESH_PROV_GATT);

  /* Check for Friendship */

  printk("Mesh initialized\n");
}

//Init Bluetooth Mesh
static void bluetooth_mesh_init()
{
  static int err;
  if (IS_ENABLED(CONFIG_HWINFO)) {
		err = hwinfo_get_device_id(dev_uuid, sizeof(dev_uuid));
	}
	if (err < 0) {
		dev_uuid[0] = 0xdd;
		dev_uuid[1] = 0xdd;
	}
  //Init Bluetooth
	bt_enable(bt_ready);
}

/* Manual Low Power Node Override */
#include <stdio.h>
#include <zephyr.h>
#include <device.h>
#include <init.h>
#include <pm/pm.h>
#include <bluetooth/mesh/main.h>

#define CONSOLE_LABEL DT_LABEL(DT_CHOSEN(zephyr_console))
#define CLOCK_LABEL DT_LABEL(DT_NODELABEL(clock))

const struct device *cons;
//const struct device *clk;

static void lpn_app_init(){
  //cons = device_get_binding(CONSOLE_LABEL);
}

static void lpn_wakeup(){
  /*
  clk = device_get_binding(CLOCK_LABEL);
  if (clk == NULL)
  {
    printk("No Clock Device found\n");
  } else {
    printk("Clock Device found\n"); 
  }
  */
  cons = device_get_binding(CONSOLE_LABEL);
  if (cons == NULL)
  {
    printk("No UART Device found\n");
  } else {
    pm_device_state_set(cons, PM_DEVICE_STATE_ACTIVE);  
  }
  printk("Exit System OFF\n");
  //gpio_pin_set_dt(&led,false);
  //bt_mesh_resume();
}

static void lpn_sleep(){
    printk("Enter System OFF\n");
    //Reenable Interrupt
    buttons_locked = false;
    nrf_gpiote_event_clear(NRF_GPIOTE, NRF_GPIOTE_EVENT_PORT);
    nrf_gpiote_int_enable(NRF_GPIOTE, GPIOTE_INTENSET_PORT_Msk); 
    //bt_mesh_suspend(); 
    /* 
    clk = device_get_binding(CLOCK_LABEL);
    if (clk == NULL)
    {
      printk("No Clock Device found\n");
    } else {
      printk("Clock Device found\n"); 
      clock_control_off(clk,CLOCK_CONTROL_NRF_SUBSYS_HF);
      //clock_control_off(clk,CLOCK_CONTROL_NRF_SUBSYS_LF);
      printk("Clocks disabled\n"); 
    }
    */
    cons = device_get_binding(CONSOLE_LABEL);
    if (cons == NULL)
    {
      printk("No UART Device found\n");
    } else {
      pm_device_state_set(cons, PM_DEVICE_STATE_SUSPENDED);  
    }
    
    //gpio_pin_set_dt(&led,true); 
    
    //pm_power_state_force((struct pm_state_info){PM_STATE_SOFT_OFF, 0, 0});
}

static void lpn_app_established(uint16_t net_idx, uint16_t friend_addr,
					uint8_t queue_size, uint8_t recv_win)
{
  printk("LPN Established\n");
  lpn_sleep();
}

static void lpn_app_polled(uint16_t net_idx, uint16_t friend_addr, bool retry)
{
  printk("LPN Polled\n");
  lpn_sleep();
}

BT_MESH_LPN_CB_DEFINE(lpn_cb_app) = {
	.established = lpn_app_established,
	.polled = lpn_app_polled,
};






/* ------------------- Main App ---------------------------- */

void main(void)
{
  printk("Init Application\n");
  leds_init();
  buttons_init();
  lpn_app_init();
  bluetooth_mesh_init();
  printk("Starting Application\n");
}
```

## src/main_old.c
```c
/*
 * Copyright (c) 2017 Raffael Anklin
 *
 * SPDX-License-Identifier: Apache-2.0
 */

/* ---------- Led ------------------- */
#include <zephyr.h>
#include <drivers/gpio.h>
#include <hal/nrf_gpio.h>
static struct gpio_dt_spec led = GPIO_DT_SPEC_GET_OR(DT_ALIAS(led0), gpios,{0});

//Init Reset Button
static void leds_init()
{
  gpio_pin_configure_dt(&led, GPIO_OUTPUT_INACTIVE);
}

/* ---------- Buttons ------------------- */
//static const struct gpio_dt_spec button_0 = GPIO_DT_SPEC_GET_OR(DT_ALIAS(sw0), gpios, {0});
//static const struct device * dev;
static const struct gpio_dt_spec button_1_on = GPIO_DT_SPEC_GET_OR(DT_ALIAS(sw1on), gpios, {0});
static const struct gpio_dt_spec button_2_on = GPIO_DT_SPEC_GET_OR(DT_ALIAS(sw2on), gpios, {0});
static const struct gpio_dt_spec button_3_on = GPIO_DT_SPEC_GET(DT_ALIAS(sw3on), gpios);
static const struct gpio_dt_spec button_4_on = GPIO_DT_SPEC_GET_OR(DT_ALIAS(sw4on), gpios, {0});
static const struct gpio_dt_spec button_1_off = GPIO_DT_SPEC_GET_OR(DT_ALIAS(sw1off), gpios, {0});
static const struct gpio_dt_spec button_2_off = GPIO_DT_SPEC_GET_OR(DT_ALIAS(sw2off), gpios, {0});
static const struct gpio_dt_spec button_3_off = GPIO_DT_SPEC_GET_OR(DT_ALIAS(sw3off), gpios, {0});
static const struct gpio_dt_spec button_4_off = GPIO_DT_SPEC_GET_OR(DT_ALIAS(sw4off), gpios, {0});
static struct gpio_callback button_cb_data_port0;
static struct gpio_callback button_cb_data_port1;
static struct k_work_delayable buttons_debounce;
//static struct k_work_delayable buttons_lock;

static void mesh_model_button_handler();
static void lpn_wakeup();
static void lpn_sleep();

static bool buttons_locked;
static uint32_t pressed_pins;

/*
static void buttons_lock_fn(struct k_work *work)
{
  buttons_locked = false;
  lpn_sleep();
}
*/

static void buttons_debounce_fn(struct k_work *work)
{
  lpn_wakeup();
  mesh_model_button_handler();
}

void button_pressed(const struct device *dev, struct gpio_callback *cb,
                    uint32_t pins)
{
  printk("Button %u pressed at %" PRIu32 "\n",pins, k_cycle_get_32());
  if (!buttons_locked){
    buttons_locked = true;
    pressed_pins = pins;
    k_work_reschedule(&buttons_debounce, K_MSEC(100)); // Debounce the Button
    //k_work_reschedule(&buttons_lock, K_MSEC(1000)); // unlock Buttons
  }
}

//Init Reset Button
static void buttons_init()
{

  gpio_pin_configure_dt(&button_1_on, GPIO_INPUT);
  gpio_pin_interrupt_configure_dt(&button_1_on, GPIO_INT_EDGE_TO_ACTIVE);

  gpio_pin_configure_dt(&button_2_on, GPIO_INPUT);
  gpio_pin_interrupt_configure_dt(&button_2_on, GPIO_INT_EDGE_TO_ACTIVE);

  gpio_pin_configure_dt(&button_3_on, GPIO_INPUT);
  gpio_pin_interrupt_configure_dt(&button_3_on, GPIO_INT_EDGE_TO_ACTIVE);

  gpio_pin_configure_dt(&button_4_on, GPIO_INPUT);
  gpio_pin_interrupt_configure_dt(&button_4_on, GPIO_INT_EDGE_TO_ACTIVE);

  gpio_pin_configure_dt(&button_1_off, GPIO_INPUT);
  gpio_pin_interrupt_configure_dt(&button_1_off, GPIO_INT_EDGE_TO_ACTIVE);

  gpio_pin_configure_dt(&button_2_off, GPIO_INPUT);
  gpio_pin_interrupt_configure_dt(&button_2_off, GPIO_INT_EDGE_TO_ACTIVE);

  gpio_pin_configure_dt(&button_3_off, GPIO_INPUT);
  gpio_pin_interrupt_configure_dt(&button_3_off, GPIO_INT_EDGE_TO_ACTIVE);  

  gpio_pin_configure_dt(&button_4_off, GPIO_INPUT);
  gpio_pin_interrupt_configure_dt(&button_4_off, GPIO_INT_EDGE_TO_ACTIVE);

  gpio_init_callback(&button_cb_data_port1, button_pressed, BIT(button_1_on.pin) | BIT(button_2_on.pin) | BIT(button_2_off.pin) | BIT(button_3_off.pin));
  gpio_init_callback(&button_cb_data_port0, button_pressed, BIT(button_3_on.pin) | BIT(button_4_on.pin) | BIT(button_1_off.pin) | BIT(button_4_off.pin));
  
  gpio_add_callback(button_3_off.port, &button_cb_data_port1); //Port 1
  gpio_add_callback(button_3_on.port, &button_cb_data_port0); //Port 0
  

  k_work_init_delayable(&buttons_debounce, buttons_debounce_fn);
  //k_work_init_delayable(&buttons_lock, buttons_lock_fn);
  // Test Wake UP
  /* Configure to generate PORT event (wakeup) on buttons press. 
  nrf_gpio_cfg_sense_set(button_1_on.pin,NRF_GPIO_PIN_SENSE_LOW);
  nrf_gpio_cfg_sense_set(button_2_on.pin,NRF_GPIO_PIN_SENSE_LOW);
  nrf_gpio_cfg_sense_set(button_3_on.pin,NRF_GPIO_PIN_SENSE_LOW);
  nrf_gpio_cfg_sense_set(button_4_on.pin,NRF_GPIO_PIN_SENSE_LOW);
  nrf_gpio_cfg_sense_set(button_1_off.pin,NRF_GPIO_PIN_SENSE_LOW);
  nrf_gpio_cfg_sense_set(button_2_off.pin,NRF_GPIO_PIN_SENSE_LOW);
  nrf_gpio_cfg_sense_set(button_3_off.pin,NRF_GPIO_PIN_SENSE_LOW);
  nrf_gpio_cfg_sense_set(button_4_off.pin,NRF_GPIO_PIN_SENSE_LOW);

  */

}


/* ---------------------------- Bluetooth Mesh ------------------------------- */

#include <drivers/hwinfo.h>

#include <bluetooth/bluetooth.h>
#include <bluetooth/mesh.h>
#include <bluetooth/mesh/models.h>
#include <bluetooth/mesh/model_types.h>


/* Provisioning */
static int output_number(bt_mesh_output_action_t action, uint32_t number)
{
  printk("OOB Number: %u\n", number);
  return 0;
}

static void prov_complete(uint16_t net_idx, uint16_t addr)
{
  printk("Prov complete! Addr: 0x%04x\n", addr);
}

static void prov_reset(void)
{
  printk("Prov reset!\n");
  bt_mesh_prov_enable(BT_MESH_PROV_ADV | BT_MESH_PROV_GATT);
}

static uint8_t dev_uuid[16];

static const struct bt_mesh_prov prov = {
    .uuid = dev_uuid,
    .output_size = 4,
    .output_actions = BT_MESH_DISPLAY_NUMBER,
    .output_number = output_number,
    .complete = prov_complete,
    .reset = prov_reset,
};

/* ON/OFF Client definition */

/** Context for a single light switch. */
struct button {
	/** Current light status of the corresponding server. */
	bool status;
	/** Generic OnOff client instance for this switch. */
	struct bt_mesh_onoff_cli client;
};

static void status_handler(struct bt_mesh_onoff_cli *cli,
			   struct bt_mesh_msg_ctx *ctx,
			   const struct bt_mesh_onoff_status *status);

static struct button buttons[] = {
	{ .client = BT_MESH_ONOFF_CLI_INIT(&status_handler) },
	{ .client = BT_MESH_ONOFF_CLI_INIT(&status_handler) },
	{ .client = BT_MESH_ONOFF_CLI_INIT(&status_handler) },
	{ .client = BT_MESH_ONOFF_CLI_INIT(&status_handler) },
};

static void status_handler(struct bt_mesh_onoff_cli *cli,
			   struct bt_mesh_msg_ctx *ctx,
			   const struct bt_mesh_onoff_status *status)
{
	struct button *button =
		CONTAINER_OF(cli, struct button, client);
	int index = button - &buttons[0];
	button->status = status->present_on_off;
	printk("Button %d: Received response: %s\n", index + 1,
	       status->present_on_off ? "on" : "off");
}

static void mesh_model_button_handler()
{  	
  //Check which Button is pressed
  static int i = 0;
  static int err;
  if ((gpio_pin_get_dt(&button_1_on) == true) || (pressed_pins & (1 << button_1_on.pin)))
  {
    i = 0;
    buttons[i].status = true;
  } else if ((gpio_pin_get_dt(&button_1_off) == true) || (pressed_pins & (1 << button_1_off.pin)))
  {
    i = 0;
    buttons[i].status = false;
  } else if ((gpio_pin_get_dt(&button_2_on) == true) || (pressed_pins & (1 << button_2_on.pin)))
  {
    i = 1;
    buttons[i].status = true;
  } else if ((gpio_pin_get_dt(&button_2_off) == true) || (pressed_pins & (1 << button_2_off.pin)))
  {
    i = 1;
    buttons[i].status = false;
  } else if ((gpio_pin_get_dt(&button_3_on) == true) || (pressed_pins & (1 << button_3_on.pin)))
  {
    i = 2;
    buttons[i].status = true;
  } else if ((gpio_pin_get_dt(&button_3_off) == true) || (pressed_pins & (1 << button_3_off.pin)))
  {
    i = 2;
    buttons[i].status = false;
  } else if ((gpio_pin_get_dt(&button_4_on) == true) || (pressed_pins & (1 << button_4_on.pin)))
  {
    i = 3;
    buttons[i].status = true;
  } else if ((gpio_pin_get_dt(&button_4_off) == true) || (pressed_pins & (1 << button_4_off.pin)))
  {
    i = 3;
    buttons[i].status = false;
  } else 
  {
    printk("Error no button pressed\n");
  }
  pressed_pins = 0;
  if (bt_mesh_is_provisioned()) {    
    struct bt_mesh_onoff_set set = {.on_off = buttons[i].status,};
    err = bt_mesh_onoff_cli_set_unack(&buttons[i].client,NULL, &set);
    if (err) {
        printk("OnOff %d set failed: %d\n", i + 1, err);
    }
  }
  bt_mesh_lpn_poll();
  lpn_sleep();
}

/* Health Server definition */
static void attention_on(struct bt_mesh_model *model)
{
  printk("attention_on!\n");
}
static void attention_off(struct bt_mesh_model *model)
{
  printk("attention_off!\n");
}
static const struct bt_mesh_health_srv_cb health_srv_cb = {
    .attn_on = attention_on,
    .attn_off = attention_off,
};
static struct bt_mesh_health_srv health_srv = {
    .cb = &health_srv_cb,
};
BT_MESH_HEALTH_PUB_DEFINE(health_pub, 0);

/* Define all Elements */
static struct bt_mesh_elem elements[] = {
    BT_MESH_ELEM(1, BT_MESH_MODEL_LIST(BT_MESH_MODEL_CFG_SRV, BT_MESH_MODEL_HEALTH_SRV(&health_srv, &health_pub), BT_MESH_MODEL_ONOFF_CLI(&buttons[0].client)),BT_MESH_MODEL_NONE),
    BT_MESH_ELEM(2, BT_MESH_MODEL_LIST(BT_MESH_MODEL_ONOFF_CLI(&buttons[1].client)),BT_MESH_MODEL_NONE),
    BT_MESH_ELEM(3, BT_MESH_MODEL_LIST(BT_MESH_MODEL_ONOFF_CLI(&buttons[2].client)),BT_MESH_MODEL_NONE),
    BT_MESH_ELEM(4, BT_MESH_MODEL_LIST(BT_MESH_MODEL_ONOFF_CLI(&buttons[3].client)),BT_MESH_MODEL_NONE),
};

/* Create Composition */
static const struct bt_mesh_comp comp = {
    .cid = CONFIG_BT_COMPANY_ID,
    .elem = elements,
    .elem_count = ARRAY_SIZE(elements),
};

/* Bluetooth */
static void bt_ready(int err)
{
  if (err)
  {
    printk("Bluetooth init failed (err %d)\n", err);
    return;
  }

  printk("Bluetooth initialized\n");

  err = bt_mesh_init(&prov, &comp);
  if (err)
  {
    printk("Initializing mesh failed (err %d)\n", err);
    return;
  }

  if (IS_ENABLED(CONFIG_SETTINGS))
  {
    settings_load();
  }

  /* This will be a no-op if settings_load() loaded provisioning info */
  bt_mesh_prov_enable(BT_MESH_PROV_ADV | BT_MESH_PROV_GATT);

  /* Check for Friendship */

  printk("Mesh initialized\n");
}

//Init Bluetooth Mesh
static void bluetooth_mesh_init()
{
  static int err;
  if (IS_ENABLED(CONFIG_HWINFO)) {
		err = hwinfo_get_device_id(dev_uuid, sizeof(dev_uuid));
	}
	if (err < 0) {
		dev_uuid[0] = 0xdd;
		dev_uuid[1] = 0xdd;
	}
  //Init Bluetooth
	bt_enable(bt_ready);
}

/* Manual Low Power Node Override */
#include <stdio.h>
#include <zephyr.h>
#include <device.h>
#include <init.h>
#include <pm/pm.h>
#include <bluetooth/mesh/main.h>
#include <hal/nrf_clock.h>

#define CONSOLE_LABEL DT_LABEL(DT_CHOSEN(zephyr_console))

const struct device *cons;
const struct device *dt_timer0;
const struct device *dt_timer1;
const struct device *dt_rtc0;
const struct device *dt_rtc1;
const struct device *dt_rtc2;

static void lpn_app_init(){
  cons = device_get_binding(CONSOLE_LABEL);
  dt_timer0 = device_get_binding("TIMER_0");
  dt_timer1 = device_get_binding("TIMER_1");
  dt_rtc0 = device_get_binding("RTC_0");
  dt_rtc1 = device_get_binding("RTC_1");
  dt_rtc2 = device_get_binding("RTC_2");
}

static void lpn_wakeup(){
  pm_device_state_set(cons, PM_DEVICE_STATE_ACTIVE);
  //pm_device_state_set(dt_timer0,PM_DEVICE_STATE_ACTIVE);  
  //pm_device_state_set(dt_timer1,PM_DEVICE_STATE_ACTIVE);
  
  //pm_device_state_set(dt_rtc0,PM_DEVICE_STATE_ACTIVE);   
  //pm_device_state_set(dt_rtc1,PM_DEVICE_STATE_ACTIVE);   
  //pm_device_state_set(dt_rtc2,PM_DEVICE_STATE_ACTIVE);
    
  printk("Exit System OFF\n");
  gpio_pin_set_dt(&led,false);
  //bt_mesh_resume();
}

static void lpn_sleep(){
    printk("Enter System OFF\n");
    //bt_mesh_suspend();
    gpio_pin_set_dt(&led,true);
    //Report Status
    //printk("HFCLK Stat: %u\n",clk_nrf->HFCLKSTAT);
    pm_device_state_set(cons, PM_DEVICE_STATE_SUSPENDED);
    
    //pm_device_state_set(dt_timer0,PM_DEVICE_STATE_SUSPENDED);  
    //pm_device_state_set(dt_timer1,PM_DEVICE_STATE_SUSPENDED);
    
    //pm_device_state_set(dt_rtc0,PM_DEVICE_STATE_SUSPENDED);   
    //pm_device_state_set(dt_rtc1,PM_DEVICE_STATE_SUSPENDED);   
    //pm_device_state_set(dt_rtc2,PM_DEVICE_STATE_SUSPENDED);  
         
    //clk_nrf->TASKS_CTSTOP = true;

    //pm_power_state_force((struct pm_state_info){PM_STATE_SOFT_OFF, 0, 0});
    //k_sleep(K_FOREVER);
    buttons_locked = false;
    //sys_clock_disable();
}

static void lpn_app_established(uint16_t net_idx, uint16_t friend_addr,
					uint8_t queue_size, uint8_t recv_win)
{
  printk("LPN Established\n");
  lpn_sleep();
}

static void lpn_app_polled(uint16_t net_idx, uint16_t friend_addr, bool retry)
{
  printk("LPN Polled\n");
  lpn_sleep();
}

BT_MESH_LPN_CB_DEFINE(lpn_cb_app) = {
	.established = lpn_app_established,
	.polled = lpn_app_polled,
};




/* ------------------- Main App ---------------------------- */

void main(void)
{
  printk("Init Application\n");
  leds_init();
  buttons_init();
  lpn_app_init();
  bluetooth_mesh_init();
  printk("Starting Application\n");
}
```
